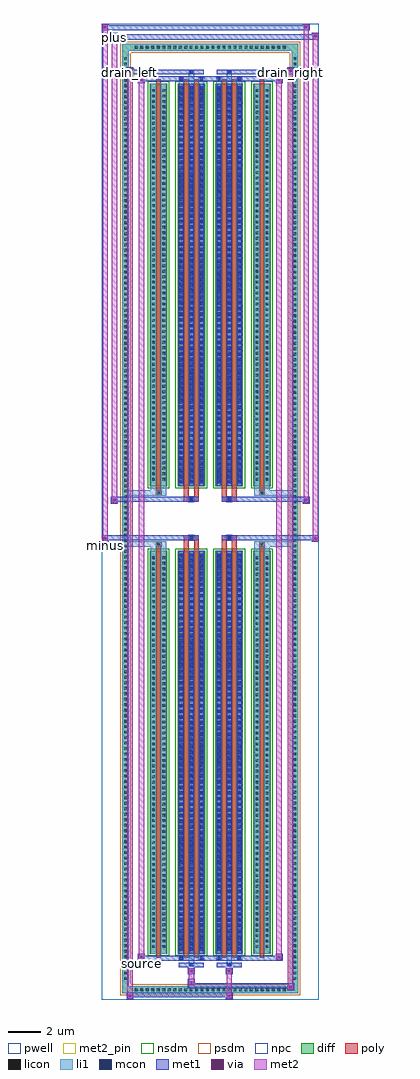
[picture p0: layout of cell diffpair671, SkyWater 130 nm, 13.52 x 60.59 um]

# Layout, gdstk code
import gdstk
lib = gdstk.Library(unit=1e-6, precision=5e-09)
def R(c, l, rs):  # rectangles x0, y0, x1, y1
    for r in rs: c.add(gdstk.rectangle(r[:2], r[2:], *l))
def A(c, l, x, y, w, h, nx, ny, dx, dy):  # array of equal rectangles
    R(c, l, [(x+i*dx, y+j*dy, x+i*dx+w, y+j*dy+h) for i in range(nx) for j in range(ny)])
def P(c, l, *ps):  # polygons
    for p in ps: c.add(gdstk.Polygon(p, *l))
pwell = (64, 44)
diff = (65, 20)
poly = (66, 20)
licon = (66, 44)
li1 = (67, 20)
mcon = (67, 44)
met1 = (68, 20)
via = (68, 44)
met2_pin = (69, 16)
met2 = (69, 20)
nsdm = (93, 44)
psdm = (94, 20)
npc = (95, 20)

diffpair671 = lib.new_cell('diffpair671')
R(diffpair671, pwell, [(-6.74,-29.86,6.74,30.73), (-4.06,-28.05,-0.01,-0.825), (0.01,-28.05,4.06,-0.825), (-4.06,0.825,-0.01,28.05), (0.01,0.825,4.06,28.05)])
A(diffpair671, diff, -4.795, -29.46, 0.41, 0.41, 28, 2, 0.34, 58.51)
A(diffpair671, diff, -5.47, -28.765, 0.41, 0.41, 1, 169, 0, 0.34)
A(diffpair671, diff, 5.06, -28.765, 0.41, 0.41, 1, 169, 0, 0.34)
R(diffpair671, diff, [(-4.795,-29.46,4.795,-29.05), (-5.47,-28.765,-5.06,28.765), (5.06,-28.765,5.47,28.765), (-3.75,-27.005,-2.67,-2.005), (-2.03,-27.005,-0.32,-2.005), (0.32,-27.005,2.03,-2.005), (2.67,-27.005,3.75,-2.005), (-3.75,2.005,-2.67,27.005), (-2.03,2.005,-0.32,27.005), (0.32,2.005,2.03,27.005), (2.67,2.005,3.75,27.005), (-4.795,29.05,4.795,29.46)])
P(diffpair671, diff, [(5.47,29.46),(-5.47,29.46),(-5.47,-29.05),(-5.06,-29.05),(-5.06,29.05),(5.06,29.05),(5.06,-29.05),(-5.06,-29.05),(-5.47,-29.05),(-5.47,-29.46),(5.47,-29.46)])
R(diffpair671, poly, [(-3.36,-27.255,-3.06,-1.755), (-1.64,-27.255,-1.34,-1.755), (-1.01,-27.255,-0.71,-1.755), (0.71,-27.255,1.01,-1.755), (1.34,-27.255,1.64,-1.755), (3.06,-27.255,3.36,-1.755), (-3.375,-1.755,-3.045,-1.425), (-3.375,-1.755,-3.045,-1.425), (-1.64,-1.755,-1.34,-1.355), (-1.01,-1.755,-0.71,-1.355), (0.71,-1.755,1.01,-1.355), (1.34,-1.755,1.64,-1.355), (3.045,-1.755,3.375,-1.425), (3.045,-1.755,3.375,-1.425), (-1.64,-1.355,-0.71,-1.025), (-1.34,-1.355,-1.01,-1.025), (0.71,-1.355,1.64,-1.025), (1.01,-1.355,1.34,-1.025), (-1.64,1.025,-0.71,1.355), (-1.34,1.025,-1.01,1.355), (0.71,1.025,1.64,1.355), (1.01,1.025,1.34,1.355), (-1.64,1.355,-1.34,1.755), (-1.01,1.355,-0.71,1.755), (0.71,1.355,1.01,1.755), (1.34,1.355,1.64,1.755), (-3.375,1.425,-3.045,1.755), (-3.375,1.425,-3.045,1.755), (3.045,1.425,3.375,1.755), (3.045,1.425,3.375,1.755), (-3.36,1.755,-3.06,27.255), (-1.64,1.755,-1.34,27.255), (-1.01,1.755,-0.71,27.255), (0.71,1.755,1.01,27.255), (1.34,1.755,1.64,27.255), (3.06,1.755,3.36,27.255)])
A(diffpair671, licon, -4.675, -29.34, 0.17, 0.17, 28, 2, 0.34, 58.51)
A(diffpair671, licon, -5.35, -28.645, 0.17, 0.17, 1, 169, 0, 0.34)
A(diffpair671, licon, 5.18, -28.645, 0.17, 0.17, 1, 169, 0, 0.34)
A(diffpair671, licon, -3.61, -26.66, 0.17, 0.17, 1, 72, 0, 0.34)
A(diffpair671, licon, -2.98, -26.66, 0.17, 0.17, 1, 72, 0, 0.34)
A(diffpair671, licon, -1.89, -26.66, 0.17, 0.17, 3, 72, 0.63, 0.34)
A(diffpair671, licon, 0.46, -26.66, 0.17, 0.17, 3, 72, 0.63, 0.34)
A(diffpair671, licon, 2.81, -26.66, 0.17, 0.17, 1, 72, 0, 0.34)
A(diffpair671, licon, 3.44, -26.66, 0.17, 0.17, 1, 72, 0, 0.34)
A(diffpair671, licon, -3.61, 2.35, 0.17, 0.17, 1, 72, 0, 0.34)
A(diffpair671, licon, -2.98, 2.35, 0.17, 0.17, 1, 72, 0, 0.34)
A(diffpair671, licon, -1.89, 2.35, 0.17, 0.17, 3, 72, 0.63, 0.34)
A(diffpair671, licon, 0.46, 2.35, 0.17, 0.17, 3, 72, 0.63, 0.34)
A(diffpair671, licon, 2.81, 2.35, 0.17, 0.17, 1, 72, 0, 0.34)
A(diffpair671, licon, 3.44, 2.35, 0.17, 0.17, 1, 72, 0, 0.34)
R(diffpair671, licon, [(-3.295,-1.675,-3.125,-1.505), (3.125,-1.675,3.295,-1.505), (-1.26,-1.275,-1.09,-1.105), (1.09,-1.275,1.26,-1.105), (-1.26,1.105,-1.09,1.275), (1.09,1.105,1.26,1.275), (-3.295,1.505,-3.125,1.675), (3.125,1.505,3.295,1.675)])
A(diffpair671, li1, -4.755, -29.42, 0.33, 0.33, 28, 2, 0.34, 58.51)
A(diffpair671, li1, -5.43, -28.725, 0.33, 0.33, 1, 169, 0, 0.34)
A(diffpair671, li1, 5.1, -28.725, 0.33, 0.33, 1, 169, 0, 0.34)
A(diffpair671, li1, -1.97, -27.005, 0.33, 25, 3, 2, 0.63, 29.01)
A(diffpair671, li1, 0.38, -27.005, 0.33, 25, 3, 2, 0.63, 29.01)
A(diffpair671, li1, -1.89, -26.83, 0.17, 0.17, 3, 69, 0.63, 0.36)
A(diffpair671, li1, -1.89, -26.83, 0.17, 24.65, 3, 2, 0.63, 29.01)
A(diffpair671, li1, 0.46, -26.83, 0.17, 0.17, 3, 69, 0.63, 0.36)
A(diffpair671, li1, 0.46, -26.83, 0.17, 24.65, 3, 2, 0.63, 29.01)
A(diffpair671, li1, -3.69, -26.74, 0.33, 0.33, 1, 72, 0, 0.34)
A(diffpair671, li1, -3.06, -26.74, 0.33, 0.33, 1, 72, 0, 0.34)
A(diffpair671, li1, -1.97, -26.74, 0.33, 0.33, 3, 72, 0.63, 0.34)
A(diffpair671, li1, 0.38, -26.74, 0.33, 0.33, 3, 72, 0.63, 0.34)
A(diffpair671, li1, 2.73, -26.74, 0.33, 0.33, 1, 72, 0, 0.34)
A(diffpair671, li1, 3.36, -26.74, 0.33, 0.33, 1, 72, 0, 0.34)
A(diffpair671, li1, -1.89, 2.18, 0.17, 0.17, 3, 69, 0.63, 0.36)
A(diffpair671, li1, 0.46, 2.18, 0.17, 0.17, 3, 69, 0.63, 0.36)
A(diffpair671, li1, -3.69, 2.27, 0.33, 0.33, 1, 72, 0, 0.34)
A(diffpair671, li1, -3.06, 2.27, 0.33, 0.33, 1, 72, 0, 0.34)
A(diffpair671, li1, -1.97, 2.27, 0.33, 0.33, 3, 72, 0.63, 0.34)
A(diffpair671, li1, 0.38, 2.27, 0.33, 0.33, 3, 72, 0.63, 0.34)
A(diffpair671, li1, 2.73, 2.27, 0.33, 0.33, 1, 72, 0, 0.34)
A(diffpair671, li1, 3.36, 2.27, 0.33, 0.33, 1, 72, 0, 0.34)
R(diffpair671, li1, [(-5.47,-29.46,-5.06,-29.05), (-5.47,-29.46,-5.06,-29.05), (-5.06,-29.46,5.06,-29.05), (5.06,-29.46,5.47,-29.05), (5.06,-29.46,5.47,-29.05), (-5.47,-29.05,-5.06,29.05), (5.06,-29.05,5.47,29.05), (-1.34,-27.81,-1.01,-27.005), (-1.26,-27.81,-1.09,-27.64), (1.01,-27.81,1.34,-27.005), (1.09,-27.81,1.26,-27.64), (-1.97,-27.38,-1.64,-27.005), (-1.89,-27.38,-1.72,-27.21), (-0.71,-27.38,-0.38,-27.005), (-0.63,-27.38,-0.46,-27.21), (0.38,-27.38,0.71,-27.005), (0.46,-27.38,0.63,-27.21), (1.64,-27.38,1.97,-27.005), (1.72,-27.38,1.89,-27.21), (-3.69,-27.005,-3.36,-2.005), (-3.06,-27.005,-2.73,-2.005), (2.73,-27.005,3.06,-2.005), (3.36,-27.005,3.69,-2.005), (-3.69,-2.005,-3.36,-1.425), (-3.06,-2.005,-2.73,-1.425), (2.73,-2.005,3.06,-1.425), (3.36,-2.005,3.69,-1.425), (-5.47,-1.755,-3.375,-1.425), (-3.69,-1.755,-3.375,-1.425), (-3.375,-1.755,-3.045,-1.425), (-3.045,-1.755,-2.73,-1.425), (2.73,-1.755,3.045,-1.425), (3.045,-1.755,3.375,-1.425), (3.045,-1.755,5.47,-1.425), (3.375,-1.755,3.69,-1.425), (-1.34,-1.355,-1.01,-1.025), (1.01,-1.355,1.34,-1.025), (-1.34,1.025,-1.01,1.355), (1.01,1.025,1.34,1.355), (-5.47,1.425,-3.375,1.755), (-3.69,1.425,-3.375,1.755), (-3.69,1.425,-3.36,2.005), (-3.375,1.425,-3.045,1.755), (-3.06,1.425,-2.73,2.005), (-3.045,1.425,-2.73,1.755), (2.73,1.425,3.045,1.755), (2.73,1.425,3.06,2.005), (3.045,1.425,3.375,1.755), (3.045,1.425,5.47,1.755), (3.36,1.425,3.69,2.005), (3.375,1.425,3.69,1.755), (-3.69,2.005,-3.36,27.005), (-3.06,2.005,-2.73,27.005), (2.73,2.005,3.06,27.005), (3.36,2.005,3.69,27.005), (-1.97,27.005,-1.64,27.38), (-1.34,27.005,-1.01,27.81), (-0.71,27.005,-0.38,27.38), (0.38,27.005,0.71,27.38), (1.01,27.005,1.34,27.81), (1.64,27.005,1.97,27.38), (-1.89,27.21,-1.72,27.38), (-0.63,27.21,-0.46,27.38), (0.46,27.21,0.63,27.38), (1.72,27.21,1.89,27.38), (-1.26,27.64,-1.09,27.81), (1.09,27.64,1.26,27.81), (-5.47,29.05,-5.06,29.46), (-5.47,29.05,-5.06,29.46), (-5.06,29.05,5.06,29.46), (5.06,29.05,5.47,29.46), (5.06,29.05,5.47,29.46)])
A(diffpair671, mcon, -1.89, -26.83, 0.17, 0.17, 3, 69, 0.63, 0.36)
A(diffpair671, mcon, 0.46, -26.83, 0.17, 0.17, 3, 69, 0.63, 0.36)
A(diffpair671, mcon, -1.89, 2.18, 0.17, 0.17, 3, 69, 0.63, 0.36)
A(diffpair671, mcon, 0.46, 2.18, 0.17, 0.17, 3, 69, 0.63, 0.36)
R(diffpair671, mcon, [(-1.26,-27.81,-1.09,-27.64), (1.09,-27.81,1.26,-27.64), (-1.89,-27.38,-1.72,-27.21), (-0.63,-27.38,-0.46,-27.21), (0.46,-27.38,0.63,-27.21), (1.72,-27.38,1.89,-27.21), (-1.26,-1.275,-1.09,-1.105), (1.09,-1.275,1.26,-1.105), (-1.26,1.105,-1.09,1.275), (1.09,1.105,1.26,1.275), (-1.89,27.21,-1.72,27.38), (-0.63,27.21,-0.46,27.38), (0.46,27.21,0.63,27.38), (1.72,27.21,1.89,27.38), (-1.26,27.64,-1.09,27.81), (1.09,27.64,1.26,27.81)])
A(diffpair671, met1, -1.95, -27.005, 0.29, 25, 3, 2, 0.63, 29.01)
A(diffpair671, met1, 0.4, -27.005, 0.29, 25, 3, 2, 0.63, 29.01)
A(diffpair671, met1, -1.95, -26.89, 0.29, 0.29, 3, 69, 0.63, 0.36)
A(diffpair671, met1, 0.4, -26.89, 0.29, 0.29, 3, 69, 0.63, 0.36)
A(diffpair671, met1, -1.95, 2.12, 0.29, 0.29, 3, 69, 0.63, 0.36)
A(diffpair671, met1, 0.4, 2.12, 0.29, 0.29, 3, 69, 0.63, 0.36)
R(diffpair671, met1, [(-5.2,-29.86,-4.77,-29.43), (0.96,-29.86,1.39,-29.43), (-5.2,-29.72,1.39,-29.43), (4.77,-29.29,5.2,-28.86), (-1.39,-29.15,5.2,-28.86), (-1.39,-29.01,-0.96,-28.58), (-1.39,-28.3,-0.96,-27.87), (0.96,-28.3,1.39,-27.87), (-1.95,-27.87,-0.4,-27.58), (-1.32,-27.87,-1.03,-27.58), (0.4,-27.87,1.95,-27.58), (1.03,-27.87,1.32,-27.58), (-4.49,-27.44,-4.06,-27.01), (-4.49,-27.44,-1.95,-27.15), (-1.95,-27.44,-1.66,-27.15), (-1.95,-27.44,-0.4,-27.15), (-0.69,-27.44,-0.4,-27.15), (-0.4,-27.44,0.4,-27.15), (0.4,-27.44,0.69,-27.15), (0.4,-27.44,1.95,-27.15), (1.66,-27.44,1.95,-27.15), (1.95,-27.44,4.49,-27.15), (4.06,-27.44,4.49,-27.01), (-6.74,-1.455,-6.31,-1.025), (6.31,-1.455,6.74,-1.025), (-6.74,-1.355,-0.71,-1.025), (-1.64,-1.355,-0.71,-1.025), (0.71,-1.355,1.64,-1.025), (0.71,-1.355,6.74,-1.025), (-1.32,-1.335,-1.03,-1.045), (1.03,-1.335,1.32,-1.045), (-6.17,0.925,-5.74,1.355), (5.74,0.925,6.17,1.355), (-6.17,1.025,-1.64,1.355), (-1.64,1.025,-0.71,1.355), (0.71,1.025,1.64,1.355), (1.64,1.025,6.17,1.355), (-1.32,1.045,-1.03,1.335), (1.03,1.045,1.32,1.335), (-4.49,27.01,-4.06,27.44), (4.06,27.01,4.49,27.44), (-4.49,27.15,-1.95,27.44), (-1.95,27.15,-1.66,27.44), (-1.95,27.15,-0.4,27.44), (-0.69,27.15,-0.4,27.44), (-0.4,27.15,0.4,27.44), (0.4,27.15,0.69,27.44), (0.4,27.15,1.95,27.44), (1.66,27.15,1.95,27.44), (1.95,27.15,4.49,27.44), (-5.2,27.58,-4.77,28.01), (-5.2,27.58,-1.95,27.87), (-1.95,27.58,-0.4,27.87), (-1.32,27.58,-1.03,27.87), (0.4,27.58,1.95,27.87), (1.03,27.58,1.32,27.87), (1.95,27.58,5.2,27.87), (4.77,27.58,5.2,28.01), (-6.17,29.73,-5.74,30.16), (-6.17,29.73,-4.06,30.06), (-4.06,29.73,4.06,30.06), (4.06,29.73,6.74,30.06), (6.31,29.73,6.74,30.16), (-6.74,30.3,-6.31,30.73), (-6.74,30.3,-4.06,30.63), (-4.06,30.3,4.06,30.63), (4.06,30.3,6.17,30.63), (5.74,30.3,6.17,30.73)])
R(diffpair671, via, [(-5.06,-29.72,-4.91,-29.57), (1.1,-29.72,1.25,-29.57), (4.91,-29.15,5.06,-29), (-1.25,-28.87,-1.1,-28.72), (-1.25,-28.16,-1.1,-28.01), (1.1,-28.16,1.25,-28.01), (-4.35,-27.3,-4.2,-27.15), (4.2,-27.3,4.35,-27.15), (-6.6,-1.315,-6.45,-1.165), (6.45,-1.315,6.6,-1.165), (-6.03,1.065,-5.88,1.215), (5.88,1.065,6.03,1.215), (-4.35,27.15,-4.2,27.3), (4.2,27.15,4.35,27.3), (-5.06,27.72,-4.91,27.87), (4.91,27.72,5.06,27.87), (-6.03,29.87,-5.88,30.02), (6.45,29.87,6.6,30.02), (-6.6,30.44,-6.45,30.59), (5.88,30.44,6.03,30.59)])
R(diffpair671, met2_pin, [(-4.525,-27.89,-4.025,-27.39), (-6.775,-1.905,-6.275,-1.405), (-5.235,27.46,-4.735,27.96), (4.735,27.46,5.235,27.96), (-6.205,29.61,-5.705,30.11)])
R(diffpair671, met2, [(-5.15,-29.81,-4.82,-29.48), (-5.15,-29.81,-4.82,27.96), (1.01,-29.81,1.34,-29.48), (1.01,-29.48,1.34,-28.25), (4.82,-29.24,5.15,-28.91), (4.82,-29.24,5.15,27.96), (-1.34,-28.96,-1.01,-28.63), (-1.34,-28.63,-1.01,-28.25), (-1.34,-28.25,-1.01,-27.92), (1.01,-28.25,1.34,-27.92), (-4.44,-27.39,-4.11,-27.06), (-4.44,-27.39,-4.11,27.39), (4.11,-27.39,4.44,-27.06), (4.11,-27.39,4.44,27.39), (-6.69,-1.405,-6.36,-1.075), (-6.69,-1.405,-6.36,30.68), (6.36,-1.405,6.69,-1.075), (6.36,-1.405,6.69,30.11), (-6.12,0.975,-5.79,1.305), (-6.12,0.975,-5.79,30.11), (5.79,0.975,6.12,1.305), (5.79,0.975,6.12,30.68), (-4.44,27.06,-4.11,27.39), (4.11,27.06,4.44,27.39), (-5.15,27.63,-4.82,27.96), (4.82,27.63,5.15,27.96), (-6.12,29.78,-5.79,30.11), (6.36,29.78,6.69,30.11), (-6.69,30.35,-6.36,30.68), (5.79,30.35,6.12,30.68)])
P(diffpair671, met2, [(6.69,-1.405),(6.69,-1.405),(6.69,-1.075),(6.69,-1.075)],
  [(6.69,29.78),(6.69,29.78),(6.69,30.11),(6.69,30.11)],
  [(-6.36,-1.405),(-6.36,-1.405),(-6.36,-1.075),(-6.36,-1.075)],
  [(-6.36,30.35),(-6.36,30.35),(-6.36,30.68),(-6.36,30.68)],
  [(6.12,0.975),(6.12,0.975),(6.12,1.305),(6.12,1.305)],
  [(6.12,30.35),(6.12,30.35),(6.12,30.68),(6.12,30.68)],
  [(-5.79,0.975),(-5.79,0.975),(-5.79,1.305),(-5.79,1.305)],
  [(-5.79,29.78),(-5.79,29.78),(-5.79,30.11),(-5.79,30.11)],
  [(-4.82,-29.81),(-4.82,-29.81),(-4.82,-29.48),(-4.82,-29.48)],
  [(-4.82,27.63),(-4.82,27.63),(-4.82,27.96),(-4.82,27.96)],
  [(5.15,-29.24),(5.15,-29.24),(5.15,-28.91),(5.15,-28.91)],
  [(5.15,27.63),(5.15,27.63),(5.15,27.96),(5.15,27.96)],
  [(-4.11,-27.39),(-4.11,-27.39),(-4.11,-27.06),(-4.11,-27.06)],
  [(-4.11,27.06),(-4.11,27.06),(-4.11,27.39),(-4.11,27.39)],
  [(4.44,-27.39),(4.44,-27.39),(4.44,-27.06),(4.44,-27.06)],
  [(4.44,27.06),(4.44,27.06),(4.44,27.39),(4.44,27.39)])
R(diffpair671, nsdm, [(-3.88,-27.135,-2.54,-1.875), (-2.16,-27.135,-0.19,-1.875), (0.19,-27.135,2.16,-1.875), (2.54,-27.135,3.88,-1.875), (-3.88,1.875,-2.54,27.135), (-2.16,1.875,-0.19,27.135), (0.19,1.875,2.16,27.135), (2.54,1.875,3.88,27.135)])
P(diffpair671, psdm, [(5.6,29.59),(-5.6,29.59),(-5.6,-28.92),(-4.93,-28.92),(-4.93,28.92),(4.93,28.92),(4.93,-28.92),(-4.93,-28.92),(-5.6,-28.92),(-5.6,-29.59),(5.6,-29.59)])
R(diffpair671, npc, [(-3.395,-1.775,-3.025,-1.405), (3.025,-1.775,3.395,-1.405), (-1.36,-1.375,-0.99,-1.005), (0.99,-1.375,1.36,-1.005), (-1.36,1.005,-0.99,1.375), (0.99,1.005,1.36,1.375), (-3.395,1.405,-3.025,1.775), (3.025,1.405,3.395,1.775)])
diffpair671.add(gdstk.Label('minus', (-6.525,-1.655), layer=69, texttype=5))
diffpair671.add(gdstk.Label('drain_right', (4.985,27.71), layer=69, texttype=5))
diffpair671.add(gdstk.Label('drain_left', (-4.985,27.71), layer=69, texttype=5))
diffpair671.add(gdstk.Label('source', (-4.275,-27.64), layer=69, texttype=5))
diffpair671.add(gdstk.Label('plus', (-5.955,29.86), layer=69, texttype=5))

lib.write_gds('diffpair671.gds')
